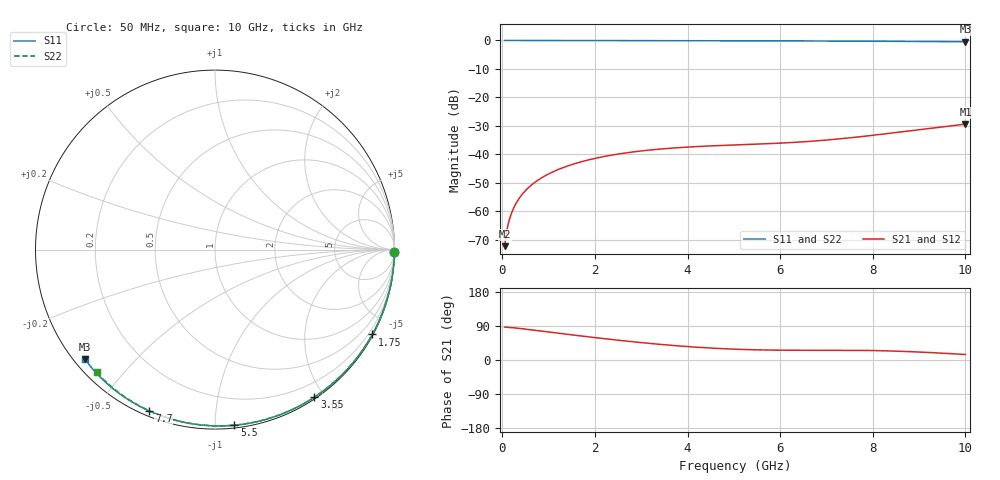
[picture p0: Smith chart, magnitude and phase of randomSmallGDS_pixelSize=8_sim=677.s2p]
! freq	dB(S11)	phase(S11)	dB(S12)	phase(S12)
!  dB(S21)	phase(S21)	dB(S22)	phase(S22)
!S-par simulation data
#  GHz  S  DB  R 50
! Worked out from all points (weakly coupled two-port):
!   200 points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, 50 MHz to 10 GHz, reference 50 ohm
!   highest |S21| = -29.41 dB at 10 GHz (marker M1); lowest = -72.3 dB at 50 MHz (marker M2)
!   lowest |S11| = -0.5 dB at 10 GHz (marker M3), VSWR 37.42, Z = 1.51 - j18.2 ohm
!   |S11| at or under -10 dB: nowhere
!   |S22| runs from -0.4 to 0.0 dB; largest |S21 - S12| = 0
!   S11 on the Smith chart (normalised r, x): 50 MHz: open; 1.75 GHz: 0.03, -3.96; 3.55 GHz: 0.02, -1.88; 5.5 GHz: 0.02, -1.12; 7.7 GHz: 0.02, -0.67; 10 GHz: 0.03, -0.36
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0.05  -0.00 -0.8  -72.30 87.0  -72.30 87.0  -0.00 -0.8
0.1  -0.00 -1.6  -66.52 86.3  -66.52 86.3  -0.00 -1.6
0.15  -0.00 -2.5  -63.09 85.9  -63.09 85.9  -0.00 -2.4
0.2  -0.00 -3.3  -60.64 85.5  -60.64 85.5  -0.00 -3.2
0.25  -0.00 -4.1  -58.73 84.9  -58.73 84.9  -0.00 -3.9
0.35  -0.00 -5.8  -55.84 83.6  -55.84 83.6  -0.00 -5.5
0.5  -0.01 -8.2  -52.78 81.5  -52.78 81.5  -0.01 -7.9
0.7  -0.01 -11.5  -49.91 78.5  -49.91 78.5  -0.01 -11.0
1  -0.02 -16.3  -46.91 73.9  -46.91 73.9  -0.02 -15.6
1.35  -0.03 -22.0  -44.46 68.6  -44.46 68.6  -0.03 -21.0
1.75  -0.04 -28.3  -42.44 62.7  -42.44 62.7  -0.03 -27.1
2.5  -0.05 -40.1  -39.93 52.2  -39.93 52.2  -0.05 -38.4
3.4  -0.07 -53.8  -38.18 41.3  -38.18 41.3  -0.07 -51.5
3.55  -0.08 -56.0  -37.98 39.7  -37.98 39.7  -0.07 -53.7
4.3  -0.09 -66.9  -37.22 32.9  -37.22 32.9  -0.09 -64.2
5.05  -0.12 -77.5  -36.71 28.4  -36.71 28.4  -0.11 -74.3
5.5  -0.14 -83.7  -36.44 26.8  -36.44 26.8  -0.13 -80.2
6.7  -0.19 -99.5  -35.39 25.8  -35.39 25.8  -0.18 -95.5
7.7  -0.25 -112.1  -33.89 25.5  -33.89 25.5  -0.24 -107.5
8.35  -0.30 -120.1  -32.66 24.0  -32.66 24.0  -0.29 -115.2
9.2  -0.38 -130.4  -30.97 19.9  -30.97 19.9  -0.36 -124.9
10  -0.46 -140.0  -29.41 14.5  -29.41 14.5  -0.44 -134.0
